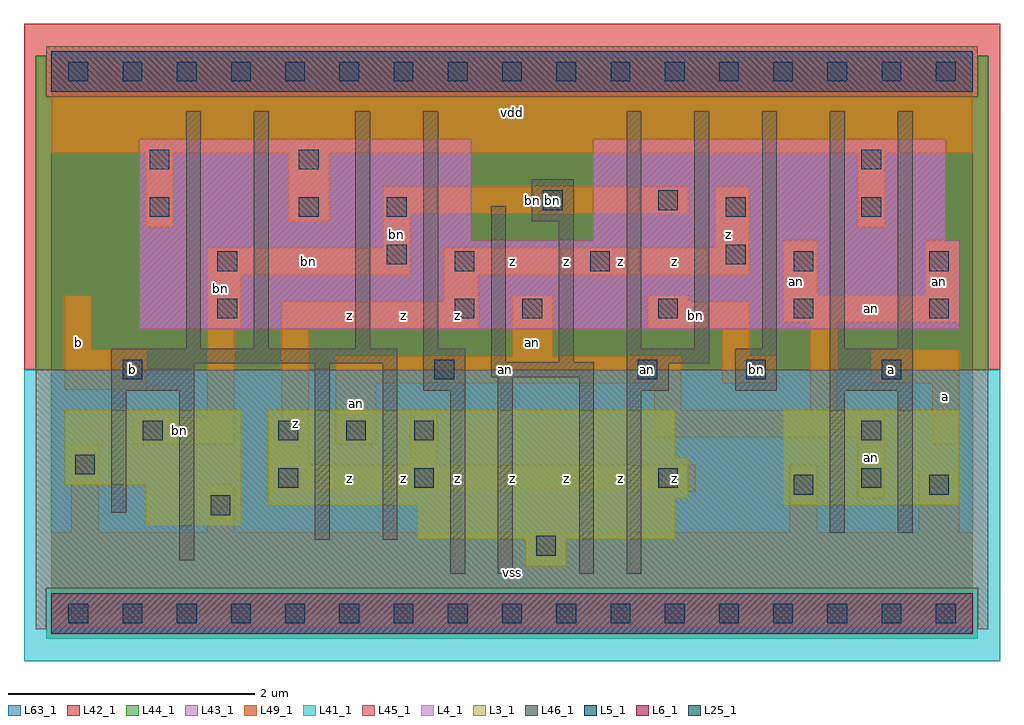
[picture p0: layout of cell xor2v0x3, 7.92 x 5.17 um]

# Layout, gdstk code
import gdstk
lib = gdstk.Library(unit=1e-6, precision=1e-09)
def R(c, l, rs):  # rectangles x0, y0, x1, y1
    for r in rs: c.add(gdstk.rectangle(r[:2], r[2:], *l))
def A(c, l, x, y, w, h, nx, ny, dx, dy):  # array of equal rectangles
    R(c, l, [(x+i*dx, y+j*dy, x+i*dx+w, y+j*dy+h) for i in range(nx) for j in range(ny)])
L3_1 = (3, 1)
L4_1 = (4, 1)
L5_1 = (5, 1)
L6_1 = (6, 1)
L25_1 = (25, 1)
L41_1 = (41, 1)
L42_1 = (42, 1)
L43_1 = (43, 1)
L44_1 = (44, 1)
L45_1 = (45, 1)
L46_1 = (46, 1)
L49_1 = (49, 1)
L63_1 = (63, 1)

xor2v0x3 = lib.new_cell('xor2v0x3')
R(xor2v0x3, L3_1, [(3.85,0.385,4.18,0.605), (2.97,0.605,5.06,0.88), (0.77,0.715,1.54,1.045), (1.76,0.88,5.06,0.935), (5.94,0.88,7.37,1.65), (1.76,0.935,5.17,1.265), (0.11,1.045,1.54,1.65), (1.76,1.265,5.06,1.65)])
R(xor2v0x3, L4_1, [(0.715,2.31,7.37,3.025), (0.715,3.025,3.41,3.85), (4.4,3.025,7.26,3.85)])
R(xor2v0x3, L5_1, [(0,4.235,7.48,4.565)])
R(xor2v0x3, L6_1, [(0,-0.165,7.48,0.165)])
A(xor2v0x3, L25_1, 0.14, -0.08, 0.16, 0.16, 17, 2, 0.44, 4.4)
A(xor2v0x3, L25_1, 1.845, 1.405, 0.16, 0.16, 3, 1, 0.55, 0)
A(xor2v0x3, L25_1, 3.825, 2.395, 0.16, 0.16, 4, 1, 1.1, 0)
R(xor2v0x3, L25_1, [(3.935,0.47,4.095,0.63), (1.295,0.8,1.455,0.96), (6.025,0.965,6.185,1.125), (7.125,0.965,7.285,1.125), (1.845,1.02,2.005,1.18), (2.945,1.02,3.105,1.18), (4.925,1.02,5.085,1.18), (6.575,1.02,6.735,1.18), (0.195,1.13,0.355,1.29), (0.745,1.405,0.905,1.565), (6.575,1.405,6.735,1.565), (0.58,1.9,0.74,2.06), (3.11,1.9,3.27,2.06), (4.76,1.9,4.92,2.06), (5.64,1.9,5.8,2.06), (6.74,1.9,6.9,2.06), (1.35,2.395,1.51,2.555), (3.275,2.395,3.435,2.555), (1.35,2.78,1.51,2.94), (3.275,2.78,3.435,2.94), (4.375,2.78,4.535,2.94), (6.025,2.78,6.185,2.94), (7.125,2.78,7.285,2.94), (2.725,2.835,2.885,2.995), (5.475,2.835,5.635,2.995), (0.8,3.22,0.96,3.38), (2.01,3.22,2.17,3.38), (2.725,3.22,2.885,3.38), (5.475,3.22,5.635,3.38), (6.575,3.22,6.735,3.38), (3.99,3.275,4.15,3.435), (4.925,3.275,5.085,3.435), (0.8,3.605,0.96,3.765), (2.01,3.605,2.17,3.765), (6.575,3.605,6.735,3.765)])
R(xor2v0x3, L41_1, [(-0.22,-0.385,7.7,1.98)])
R(xor2v0x3, L42_1, [(-0.22,1.98,7.7,4.785)])
R(xor2v0x3, L43_1, [(0,-0.165,7.48,0.165), (3.85,0.385,4.18,0.605), (2.97,0.605,5.06,0.88), (0.77,0.715,1.54,1.045), (1.76,0.88,5.06,0.935), (5.94,0.88,7.37,1.65), (1.76,0.935,5.17,1.265), (0.11,1.045,1.54,1.65), (1.76,1.265,5.06,1.65), (0.715,2.31,7.37,3.025), (0.715,3.025,3.41,3.85), (4.4,3.025,7.26,3.85), (0,4.235,7.48,4.565)])
R(xor2v0x3, L44_1, [(-0.04,-0.205,7.52,0.205), (-0.125,1.98,7.605,4.195), (-0.125,4.195,-0.04,4.525), (7.52,4.195,7.605,4.525)])
R(xor2v0x3, L45_1, [(-0.125,-0.125,-0.04,0.205), (7.52,-0.125,7.605,0.205), (-0.125,0.205,7.605,1.98), (-0.04,4.195,7.52,4.605)])
A(xor2v0x3, L46_1, 4.67, 2.15, 0.12, 1.925, 5, 1, 0.55, 0)
R(xor2v0x3, L46_1, [(3.24,0.325,3.36,1.81), (3.625,0.325,3.745,1.92), (4.285,0.325,4.405,1.92), (4.67,0.325,4.79,1.81), (1.04,0.435,1.16,1.81), (2.14,0.6,2.26,2.03), (2.69,0.6,2.81,2.03), (6.32,0.655,6.44,1.81), (6.87,0.655,6.99,1.81), (0.49,0.82,0.61,1.81), (0.49,1.81,1.16,2.03), (3.02,1.81,3.36,2.15), (4.67,1.81,5.01,2.03), (5.55,1.81,5.89,2.15), (6.32,1.81,6.99,2.15), (3.57,1.92,4.405,2.04), (0.49,2.03,2.81,2.15), (4.67,2.03,5.34,2.15), (3.57,2.04,3.69,3.305), (4.12,2.04,4.24,3.185), (1.095,2.15,1.215,4.075), (1.645,2.15,1.765,4.075), (2.47,2.15,2.59,4.075), (3.02,2.15,3.14,4.075), (3.9,3.185,4.24,3.525)])
R(xor2v0x3, L49_1, [(0,-0.11,7.48,0.66), (0.165,0.66,0.385,1.375), (1.265,0.66,1.485,1.045), (5.995,0.66,6.215,1.21), (7.04,0.66,7.37,1.155), (6.545,0.935,6.765,1.43), (1.76,0.99,5.225,1.21), (1.76,1.21,2.09,1.595), (2.915,1.21,3.135,1.65), (0.66,1.375,1.485,1.595), (2.31,1.375,2.64,1.87), (7.15,1.375,7.37,1.87), (4.895,1.43,6.765,1.65), (1.265,1.595,1.485,2.31), (1.87,1.595,2.09,2.31), (4.895,1.65,5.115,1.87), (6.16,1.65,6.38,2.365), (0.11,1.815,0.77,2.145), (2.31,1.87,5.115,2.09), (5.445,1.87,5.885,2.09), (6.655,1.87,7.37,2.145), (3.74,2.09,4.07,2.585), (5.445,2.09,5.665,2.31), (0.11,2.145,0.33,2.585), (1.265,2.31,1.54,2.75), (1.87,2.31,3.465,2.53), (4.84,2.31,5.665,2.53), (5.94,2.365,7.37,2.585), (3.19,2.53,3.465,2.75), (4.84,2.53,5.17,2.585), (5.94,2.585,6.215,3.025), (7.095,2.585,7.37,3.025), (1.265,2.75,2.915,2.97), (3.19,2.75,5.665,2.97), (2.695,2.97,2.915,3.245), (5.39,2.97,5.665,3.465), (0.77,3.135,0.99,3.74), (6.545,3.135,6.765,3.74), (1.925,3.19,2.255,3.74), (2.695,3.245,5.17,3.465), (0,3.74,7.48,4.51)])
R(xor2v0x3, L63_1, [(0,0,7.48,4.4)])
xor2v0x3.add(gdstk.Label('an', (4.84,1.98), layer=49, texttype=1))
xor2v0x3.add(gdstk.Label('bn', (4.07,3.355), layer=49, texttype=1))
xor2v0x3.add(gdstk.Label('bn', (5.72,1.98), layer=49, texttype=1))
xor2v0x3.add(gdstk.Label('b', (0.22,2.2), layer=49, texttype=1))
xor2v0x3.add(gdstk.Label('b', (0.66,1.98), layer=49, texttype=1))
xor2v0x3.add(gdstk.Label('bn', (1.045,1.485), layer=49, texttype=1))
xor2v0x3.add(gdstk.Label('z', (1.98,1.54), layer=49, texttype=1))
xor2v0x3.add(gdstk.Label('z', (2.42,1.1), layer=49, texttype=1))
xor2v0x3.add(gdstk.Label('an', (2.475,1.705), layer=49, texttype=1))
xor2v0x3.add(gdstk.Label('z', (2.42,2.42), layer=49, texttype=1))
xor2v0x3.add(gdstk.Label('bn', (2.805,3.08), layer=49, texttype=1))
xor2v0x3.add(gdstk.Label('bn', (2.09,2.86), layer=49, texttype=1))
xor2v0x3.add(gdstk.Label('bn', (1.375,2.64), layer=49, texttype=1))
xor2v0x3.add(gdstk.Label('vss', (3.74,0.33), layer=49, texttype=1))
xor2v0x3.add(gdstk.Label('z', (2.86,1.1), layer=49, texttype=1))
xor2v0x3.add(gdstk.Label('z', (4.18,1.1), layer=49, texttype=1))
xor2v0x3.add(gdstk.Label('z', (3.74,1.1), layer=49, texttype=1))
xor2v0x3.add(gdstk.Label('z', (3.3,1.1), layer=49, texttype=1))
xor2v0x3.add(gdstk.Label('z', (2.86,2.42), layer=49, texttype=1))
xor2v0x3.add(gdstk.Label('an', (3.905,2.2), layer=49, texttype=1))
xor2v0x3.add(gdstk.Label('z', (3.3,2.42), layer=49, texttype=1))
xor2v0x3.add(gdstk.Label('z', (4.18,2.86), layer=49, texttype=1))
xor2v0x3.add(gdstk.Label('z', (3.74,2.86), layer=49, texttype=1))
xor2v0x3.add(gdstk.Label('vdd', (3.74,4.07), layer=49, texttype=1))
xor2v0x3.add(gdstk.Label('z', (4.62,1.1), layer=49, texttype=1))
xor2v0x3.add(gdstk.Label('z', (5.06,1.1), layer=49, texttype=1))
xor2v0x3.add(gdstk.Label('an', (3.685,1.98), layer=49, texttype=1))
xor2v0x3.add(gdstk.Label('bn', (5.225,2.42), layer=49, texttype=1))
xor2v0x3.add(gdstk.Label('bn', (5.665,1.98), layer=49, texttype=1))
xor2v0x3.add(gdstk.Label('z', (5.06,2.86), layer=49, texttype=1))
xor2v0x3.add(gdstk.Label('z', (4.62,2.86), layer=49, texttype=1))
xor2v0x3.add(gdstk.Label('bn', (3.905,3.355), layer=49, texttype=1))
xor2v0x3.add(gdstk.Label('z', (5.5,3.08), layer=49, texttype=1))
xor2v0x3.add(gdstk.Label('an', (6.655,1.265), layer=49, texttype=1))
xor2v0x3.add(gdstk.Label('a', (7.26,1.76), layer=49, texttype=1))
xor2v0x3.add(gdstk.Label('an', (6.655,2.475), layer=49, texttype=1))
xor2v0x3.add(gdstk.Label('a', (6.82,1.98), layer=49, texttype=1))
xor2v0x3.add(gdstk.Label('an', (7.205,2.695), layer=49, texttype=1))
xor2v0x3.add(gdstk.Label('an', (6.05,2.695), layer=49, texttype=1))

lib.write_gds('xor2v0x3.gds')
